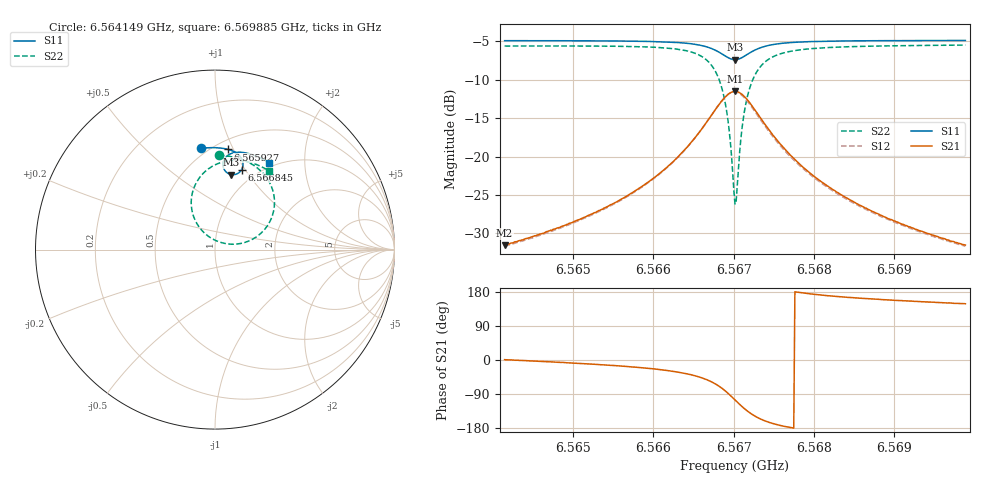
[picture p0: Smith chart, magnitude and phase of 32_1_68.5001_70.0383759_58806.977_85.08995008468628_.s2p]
#  HZ  S  RI  R  50.00
! Rohde & Schwarz Vector Network Analyzer
! Rohde-Schwarz,ZNB20-2Port,1311601062101988,3.16
! Created: UTC 3/20/2024, 5:05:07 PM
! freq[Hz]  re:S11  im:S11  re:S21  im:S21  re:S12  im:S12  re:S22  im:S22
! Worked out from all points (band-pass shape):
!   401 points, 6.564149 GHz to 6.569885 GHz, reference 50 ohm
!   highest |S21| = -11.51 dB at 6.567017 GHz (marker M1); lowest = -31.5 dB at 6.564149 GHz (marker M2)
!   |S21| within 3 dB of the highest: 6.566731 GHz to 6.567304 GHz (573 kHz wide, 0.00873 % of centre)
!   lowest |S11| = -7.4 dB at 6.567017 GHz (marker M3), VSWR 2.49, Z = 40.6 + j41.6 ohm
!   |S11| at or under -10 dB: nowhere
!   |S22| runs from -26.2 to -5.5 dB; largest |S21 - S12| = 0.012
!   S11 on the Smith chart (normalised r, x): 6.564149 GHz: 0.46, +0.76; 6.565927 GHz: 0.58, +0.95; 6.566845 GHz: 0.84, +0.97; 6.569885 GHz: 0.93, +1.34
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6.5641488e9  -0.0787 0.5635  0.0265 0.000401  0.0262 -9.56e-05  0.0202 0.5247
6.5651097e9  -0.000993 0.5679  0.0391 -0.0065  0.0385 -0.00703  0.1086 0.5136
6.5659271e9  0.0732 0.558  0.0629 -0.0252  0.0618 -0.0261  0.208 0.4744
6.5660705e9  0.0877 0.5534  0.0699 -0.0328  0.0688 -0.0335  0.2306 0.4591
6.5663861e9  0.1228 0.5352  0.09 -0.0632  0.0886 -0.0643  0.2889 0.3989
6.5666155e9  0.1487 0.5056  0.1035 -0.1145  0.1013 -0.1167  0.3286 0.2998
6.5667446e9  0.156 0.4759  0.097 -0.1665  0.0929 -0.1693  0.3231 0.2009
6.566845e9  0.1485 0.4458  0.0664 -0.2179  0.0593 -0.2206  0.2695 0.1044
6.566888e9  0.1388 0.4333  0.0415 -0.2386  0.0329 -0.2403  0.2243 0.0668
6.566931e9  0.125 0.4232  0.00898 -0.2545  -0.000885 -0.2543  0.1654 0.0396
6.5670027e9  0.095 0.4175  -0.0566 -0.2593  -0.0674 -0.2549  0.0485 0.0357
6.5670171e9  0.0887 0.4184  -0.07 -0.2564  -0.0806 -0.2511  0.0252 0.0422
6.5670458e9  0.0766 0.4224  -0.0956 -0.2466  -0.1053 -0.2394  -0.0188 0.0622
6.5671031e9  0.0573 0.4375  -0.1374 -0.2146  -0.1441 -0.205  -0.0868 0.1235
6.5671462e9  0.0485 0.4523  -0.1575 -0.1845  -0.1618 -0.1742  -0.117 0.1785
6.5672035e9  0.0446 0.4728  -0.1704 -0.1443  -0.1716 -0.1344  -0.1323 0.2502
6.5672752e9  0.0483 0.4949  -0.1701 -0.1012  -0.169 -0.0928  -0.1237 0.3249
6.5675334e9  0.0875 0.5341  -0.1275 -0.0219  -0.1248 -0.0184  -0.0271 0.4567
6.5679779e9  0.146 0.5421  -0.0758 0.00807  -0.074 0.00914  0.0939 0.4966
6.5684512e9  0.1926 0.5335  -0.0504 0.0135  -0.0493 0.0141  0.1689 0.4918
6.5689388e9  0.233 0.5194  -0.0365 0.0144  -0.0358 0.0146  0.2234 0.4767
6.5698853e9  0.3016 0.4847  -0.0226 0.0139  -0.0221 0.014  0.3028 0.438
